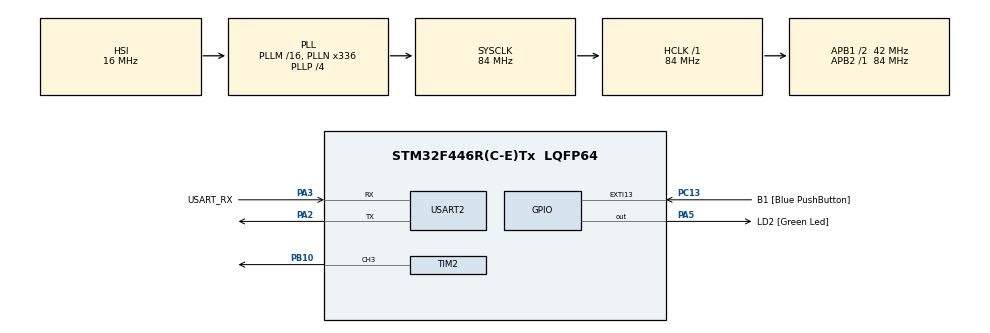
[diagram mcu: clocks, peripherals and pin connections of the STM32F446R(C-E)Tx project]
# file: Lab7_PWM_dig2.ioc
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Mcu.Family=STM32F4
Mcu.Name=STM32F446R(C-E)Tx
Mcu.Package=LQFP64
NVIC.PriorityGroup=NVIC_PRIORITYGROUP_0
NVIC.USART2_IRQn=true\:0\:0\:false\:false\:true\:true\:true\:true
PA13.GPIO_Label=TMS
PA13.Signal=SYS_JTMS-SWDIO
PA14.GPIO_Label=TCK
PA14.Signal=SYS_JTCK-SWCLK
PA2.Mode=Asynchronous
PA2.Signal=USART2_TX
PA3.GPIO_Label=USART_RX
PA3.Mode=Asynchronous
PA3.Signal=USART2_RX
PA5.GPIO_Label=LD2 [Green Led]
PA5.Signal=GPIO_Output
PB10.Signal=S_TIM2_CH3
PB3.GPIO_Label=SWO
PB3.Signal=SYS_JTDO-SWO
PC13.GPIO_Label=B1 [Blue PushButton]
PC13.GPIO_ModeDefaultEXTI=GPIO_MODE_IT_FALLING
PC13.Signal=GPXTI13
PC14-OSC32_IN.Signal=RCC_OSC32_IN
PC15-OSC32_OUT.Signal=RCC_OSC32_OUT
PH0-OSC_IN.Signal=RCC_OSC_IN
PH1-OSC_OUT.Signal=RCC_OSC_OUT
ProjectManager.HeapSize=0x200
ProjectManager.StackSize=0x400
ProjectManager.TargetToolchain=STM32CubeIDE
RCC.AHBFreq_Value=84000000
RCC.APB1CLKDivider=RCC_HCLK_DIV2
RCC.APB1Freq_Value=42000000
RCC.APB1TimFreq_Value=84000000
RCC.APB2Freq_Value=84000000
RCC.APB2TimFreq_Value=84000000
RCC.CortexFreq_Value=84000000
RCC.FLatency-AdvancedSettings=FLASH_LATENCY_2
RCC.HCLKFreq_Value=84000000
RCC.HSE_VALUE=8000000
RCC.HSI_VALUE=16000000
RCC.LSE_VALUE=32768
RCC.PLLN=336
RCC.PLLP=RCC_PLLP_DIV4
RCC.SYSCLKFreq_VALUE=84000000
RCC.SYSCLKSource=RCC_SYSCLKSOURCE_PLLCLK
RCC.USBFreq_Value=168000000
RCC.VCOOutputFreq_Value=336000000
SH.S_TIM2_CH3.0=TIM2_CH3,PWM Generation3 CH3
TIM2.Channel-PWM\ Generation3\ CH3=TIM_CHANNEL_3
TIM2.Period=999
TIM2.Prescaler=83
USART2.VirtualMode=VM_ASYNC
VP_TIM2_VS_ClockSourceINT.Mode=Internal
board=NUCLEO-F446RE

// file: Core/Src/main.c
/* USER CODE BEGIN Header */
/**
  ******************************************************************************
  * @file           : main.c
  * @brief          : Main program body
  ******************************************************************************
  * @attention
  *
  * Copyright (c) 2026 STMicroelectronics.
  * All rights reserved.
  *
  * This software is licensed under terms that can be found in the LICENSE file
  * in the root directory of this software component.
  * If no LICENSE file comes with this software, it is provided AS-IS.
  *
  ******************************************************************************
  */
/* USER CODE END Header */
#include "main.h"

TIM_HandleTypeDef htim2;

UART_HandleTypeDef huart2;

/* USER CODE BEGIN PV */
#define PWM_COUNTER_HZ 1000000U

static volatile uint8_t playRequest = 0;
static volatile uint8_t playing = 0;
static uint8_t uartRx;

/*
FelizNav:d=8,o=5,b=140:
a,4d6,c#6,d6,2b.,4p,b,4e6,d6,b,2a.,4p,
a,4d6,c#6,d6,4b.,g,4b,4b,a,a,b,a,4g,g,1f#
*/

static const uint16_t noteFrequency[] = {
    880, 1175, 1109, 1175, 988, 0,
    988, 1319, 1175, 988, 880, 0,
    880, 1175, 1109, 1175, 988, 784,
    988, 988, 880, 880, 988, 880,
    784, 784, 740
};

static const uint16_t noteDurationMs[] = {
    214, 429, 214, 214, 1286, 429,
    214, 429, 214, 214, 1286, 429,
    214, 429, 214, 214, 643, 214,
    429, 429, 214, 214, 214, 214,
    429, 214, 1714
};

#define NOTE_COUNT \
    (sizeof(noteFrequency) / sizeof(noteFrequency[0]))

/* USER CODE END PV */

void SystemClock_Config(void);
static void MX_GPIO_Init(void);
static void MX_TIM2_Init(void);
static void MX_USART2_UART_Init(void);
/* USER CODE BEGIN PFP */
static void PlayFelizNavidadPWM(void);
static void ShowMenu(void);
/* USER CODE END PFP */

/* USER CODE BEGIN 0 */
static void PlayFelizNavidadPWM(void)
{
    playing = 1;

    if (HAL_TIM_PWM_Start(&htim2, TIM_CHANNEL_3) != HAL_OK)
    {
        Error_Handler();
    }

    for (uint32_t note = 0; note < NOTE_COUNT; note++)
    {
        uint16_t frequency = noteFrequency[note];

        if (frequency == 0U)
        {
            __HAL_TIM_SET_COMPARE(&htim2, TIM_CHANNEL_3, 0);
        }
        else
        {
            uint32_t period = PWM_COUNTER_HZ / frequency;

            __HAL_TIM_SET_AUTORELOAD(&htim2, period - 1U);
            __HAL_TIM_SET_COMPARE(&htim2, TIM_CHANNEL_3, period / 2U);
            __HAL_TIM_SET_COUNTER(&htim2, 0);
            HAL_TIM_GenerateEvent(&htim2, TIM_EVENTSOURCE_UPDATE);
            HAL_TIM_GenerateEvent(&htim2, TIM_EVENTSOURCE_UPDATE);
        }

        HAL_Delay(noteDurationMs[note]);
    }

    __HAL_TIM_SET_COMPARE(&htim2, TIM_CHANNEL_3, 0);
    HAL_TIM_PWM_Stop(&htim2, TIM_CHANNEL_3);

    playing = 0;
}

static void ShowMenu(void)
{
    static const char menu[] =
        "\r\n=== Reproductor PWM ===\r\n"
        "1: Reproducir Feliz Navidad\r\n"
        "Seleccione una opcion: ";

    HAL_UART_Transmit(
        &huart2,
        (uint8_t *)menu,
        sizeof(menu) - 1U,
        HAL_MAX_DELAY
    );
}
/* USER CODE END 0 */

int main(void)
{

  /* MCU Configuration--------------------------------------------------------*/

  /* Reset of all peripherals, Initializes the Flash interface and the Systick. */
  HAL_Init();

  /* Configure the system clock */
  SystemClock_Config();

  /* Initialize all configured peripherals */
  MX_GPIO_Init();
  MX_TIM2_Init();
  MX_USART2_UART_Init();
  /* USER CODE BEGIN 2 */
  ShowMenu();

  HAL_UART_Receive_IT(&huart2, &uartRx, 1);
  /* USER CODE END 2 */

  /* Infinite loop */
  /* USER CODE BEGIN WHILE */
  while (1)
  {
    if (playRequest != 0)
    {
      playRequest = 0;

      PlayFelizNavidadPWM();

      HAL_UART_Transmit(
          &huart2,
          (uint8_t *)"\r\nReproduccion terminada.\r\n",
          sizeof("\r\nReproduccion terminada.\r\n") - 1U,
          HAL_MAX_DELAY
      );

      ShowMenu();
    }
    /* USER CODE END WHILE */

  }
}

void SystemClock_Config(void)
{
  RCC_OscInitTypeDef RCC_OscInitStruct = {0};
  RCC_ClkInitTypeDef RCC_ClkInitStruct = {0};

  /** Configure the main internal regulator output voltage
  */
  __HAL_RCC_PWR_CLK_ENABLE();
  __HAL_PWR_VOLTAGESCALING_CONFIG(PWR_REGULATOR_VOLTAGE_SCALE3);

  /** Initializes the RCC Oscillators according to the specified parameters
  * in the RCC_OscInitTypeDef structure.
  */
  RCC_OscInitStruct.OscillatorType = RCC_OSCILLATORTYPE_HSI;
  RCC_OscInitStruct.HSIState = RCC_HSI_ON;
  RCC_OscInitStruct.HSICalibrationValue = RCC_HSICALIBRATION_DEFAULT;
  RCC_OscInitStruct.PLL.PLLState = RCC_PLL_ON;
  RCC_OscInitStruct.PLL.PLLSource = RCC_PLLSOURCE_HSI;
  RCC_OscInitStruct.PLL.PLLM = 16;
  RCC_OscInitStruct.PLL.PLLN = 336;
  RCC_OscInitStruct.PLL.PLLP = RCC_PLLP_DIV4;
  RCC_OscInitStruct.PLL.PLLQ = 2;
  RCC_OscInitStruct.PLL.PLLR = 2;
  if (HAL_RCC_OscConfig(&RCC_OscInitStruct) != HAL_OK)
  {
    Error_Handler();
  }

  /** Initializes the CPU, AHB and APB buses clocks
  */
  RCC_ClkInitStruct.ClockType = RCC_CLOCKTYPE_HCLK|RCC_CLOCKTYPE_SYSCLK
                              |RCC_CLOCKTYPE_PCLK1|RCC_CLOCKTYPE_PCLK2;
  RCC_ClkInitStruct.SYSCLKSource = RCC_SYSCLKSOURCE_PLLCLK;
  RCC_ClkInitStruct.AHBCLKDivider = RCC_SYSCLK_DIV1;
  RCC_ClkInitStruct.APB1CLKDivider = RCC_HCLK_DIV2;
  RCC_ClkInitStruct.APB2CLKDivider = RCC_HCLK_DIV1;

  if (HAL_RCC_ClockConfig(&RCC_ClkInitStruct, FLASH_LATENCY_2) != HAL_OK)
  {
    Error_Handler();
  }
}

static void MX_TIM2_Init(void)
{

  TIM_ClockConfigTypeDef sClockSourceConfig = {0};
  TIM_MasterConfigTypeDef sMasterConfig = {0};
  TIM_OC_InitTypeDef sConfigOC = {0};

  htim2.Instance = TIM2;
  htim2.Init.Prescaler = 83;
  htim2.Init.CounterMode = TIM_COUNTERMODE_UP;
  htim2.Init.Period = 999;
  htim2.Init.ClockDivision = TIM_CLOCKDIVISION_DIV1;
  htim2.Init.AutoReloadPreload = TIM_AUTORELOAD_PRELOAD_DISABLE;
  if (HAL_TIM_Base_Init(&htim2) != HAL_OK)
  {
    Error_Handler();
  }
  sClockSourceConfig.ClockSource = TIM_CLOCKSOURCE_INTERNAL;
  if (HAL_TIM_ConfigClockSource(&htim2, &sClockSourceConfig) != HAL_OK)
  {
    Error_Handler();
  }
  if (HAL_TIM_PWM_Init(&htim2) != HAL_OK)
  {
    Error_Handler();
  }
  sMasterConfig.MasterOutputTrigger = TIM_TRGO_RESET;
  sMasterConfig.MasterSlaveMode = TIM_MASTERSLAVEMODE_DISABLE;
  if (HAL_TIMEx_MasterConfigSynchronization(&htim2, &sMasterConfig) != HAL_OK)
  {
    Error_Handler();
  }
  sConfigOC.OCMode = TIM_OCMODE_PWM1;
  sConfigOC.Pulse = 0;
  sConfigOC.OCPolarity = TIM_OCPOLARITY_HIGH;
  sConfigOC.OCFastMode = TIM_OCFAST_DISABLE;
  if (HAL_TIM_PWM_ConfigChannel(&htim2, &sConfigOC, TIM_CHANNEL_3) != HAL_OK)
  {
    Error_Handler();
  }
  HAL_TIM_MspPostInit(&htim2);

}

static void MX_USART2_UART_Init(void)
{

  huart2.Instance = USART2;
  huart2.Init.BaudRate = 115200;
  huart2.Init.WordLength = UART_WORDLENGTH_8B;
  huart2.Init.StopBits = UART_STOPBITS_1;
  huart2.Init.Parity = UART_PARITY_NONE;
  huart2.Init.Mode = UART_MODE_TX_RX;
  huart2.Init.HwFlowCtl = UART_HWCONTROL_NONE;
  huart2.Init.OverSampling = UART_OVERSAMPLING_16;
  if (HAL_UART_Init(&huart2) != HAL_OK)
  {
    Error_Handler();
  }

}

static void MX_GPIO_Init(void)
{
  GPIO_InitTypeDef GPIO_InitStruct = {0};

  /* GPIO Ports Clock Enable */
  __HAL_RCC_GPIOC_CLK_ENABLE();
  __HAL_RCC_GPIOH_CLK_ENABLE();
  __HAL_RCC_GPIOA_CLK_ENABLE();
  __HAL_RCC_GPIOB_CLK_ENABLE();

  /*Configure GPIO pin Output Level */
  HAL_GPIO_WritePin(LD2_GPIO_Port, LD2_Pin, GPIO_PIN_RESET);

  /*Configure GPIO pin : B1_Pin */
  GPIO_InitStruct.Pin = B1_Pin;
  GPIO_InitStruct.Mode = GPIO_MODE_IT_FALLING;
  GPIO_InitStruct.Pull = GPIO_NOPULL;
  HAL_GPIO_Init(B1_GPIO_Port, &GPIO_InitStruct);

  /*Configure GPIO pin : LD2_Pin */
  GPIO_InitStruct.Pin = LD2_Pin;
  GPIO_InitStruct.Mode = GPIO_MODE_OUTPUT_PP;
  GPIO_InitStruct.Pull = GPIO_NOPULL;
  GPIO_InitStruct.Speed = GPIO_SPEED_FREQ_LOW;
  HAL_GPIO_Init(LD2_GPIO_Port, &GPIO_InitStruct);

}

/* USER CODE BEGIN 4 */
void HAL_UART_RxCpltCallback(UART_HandleTypeDef *huart)
{
    if (huart->Instance == USART2)
    {
        if ((uartRx == '1') && (playing == 0))
        {
            playRequest = 1;
        }

        HAL_UART_Receive_IT(&huart2, &uartRx, 1);
    }
}
/* USER CODE END 4 */

void Error_Handler(void)
{
  __disable_irq();
  while (1)
  {
  }
}
